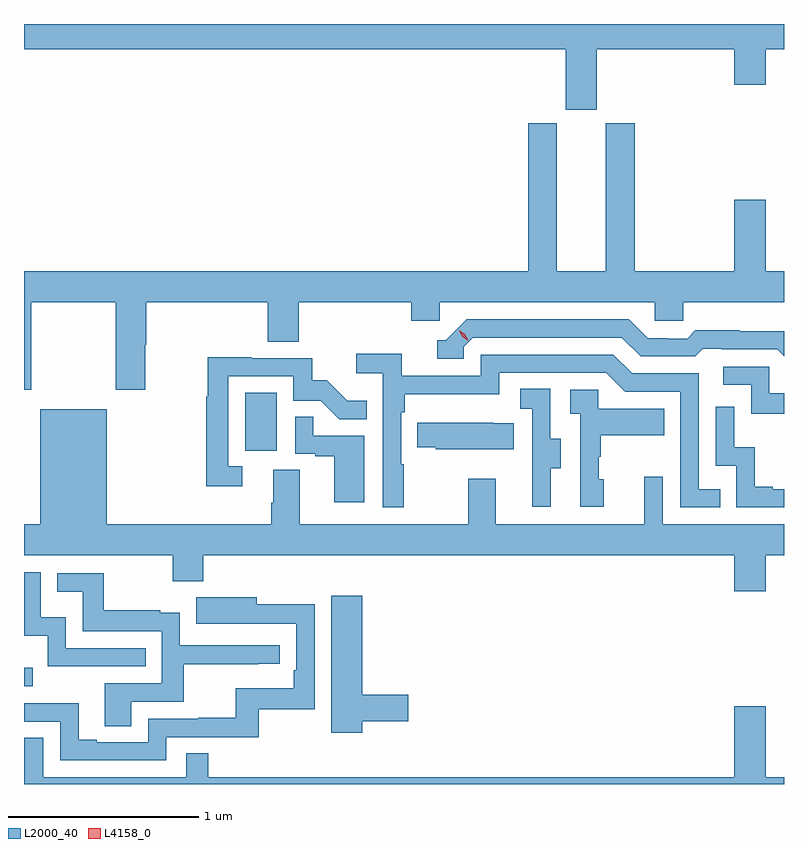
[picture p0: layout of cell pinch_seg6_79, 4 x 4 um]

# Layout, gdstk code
import gdstk
lib = gdstk.Library(unit=1e-6, precision=1e-09)
def R(c, l, rs):  # rectangles x0, y0, x1, y1
    for r in rs: c.add(gdstk.rectangle(r[:2], r[2:], *l))
def P(c, l, *ps):  # polygons
    for p in ps: c.add(gdstk.Polygon(p, *l))
L2000_40 = (2000, 40)
L4158_0 = (4158, 0)

pinch_seg6_79 = lib.new_cell('pinch_seg6_79')
R(pinch_seg6_79, L2000_40, [(904.525,925.335,904.57,925.432), (905.69,926.574,905.854,926.881)])
P(pinch_seg6_79, L2000_40, [(907.54,928.688),(908.264,928.688),(908.264,928.5),(908.428,928.5),(908.428,928.688),(908.525,928.688),(908.525,928.821),(904.525,928.821),(904.525,928.688),(907.376,928.688),(907.376,928.371),(907.54,928.371)],
  [(904.563,927.356),(905.008,927.356),(905.008,926.895),(905.163,926.895),(905.163,927.134),(905.168,927.134),(905.168,927.356),(905.807,927.356),(905.807,927.148),(905.972,927.148),(905.972,927.356),(906.563,927.356),(906.563,927.258),(906.714,927.258),(906.714,927.356),(907.845,927.356),(907.845,927.258),(907.995,927.258),(907.995,927.356),(908.525,927.356),(908.525,927.52),(908.428,927.52),(908.428,927.895),(908.264,927.895),(908.264,927.52),(907.739,927.52),(907.739,928.299),(907.586,928.299),(907.586,927.52),(907.33,927.52),(907.33,928.299),(907.178,928.299),(907.178,927.52),(904.525,927.52),(904.525,926.895),(904.563,926.895)],
  [(906.84,927.123),(906.888,927.171),(907.671,927.171),(907.77,927.072),(908.059,927.072),(908.098,927.111),(908.197,927.111),(908.197,927.108),(908.49,927.108),(908.525,927.073),(908.525,927.205),(908.292,927.205),(908.292,927.208),(908.059,927.208),(908.017,927.165),(907.914,927.165),(907.914,927.168),(907.807,927.168),(907.708,927.267),(906.855,927.267),(906.744,927.156),(906.701,927.156),(906.701,927.06),(906.84,927.06)],
  [(906.523,926.504),(906.51,926.504),(906.51,926.777),(906.53,926.777),(906.53,926.873),(907.026,926.873),(907.026,926.985),(907.59,926.985),(907.689,926.886),(907.98,926.886),(907.98,926.277),(908.189,926.277),(908.189,926.373),(908.076,926.373),(908.076,926.982),(907.726,926.982),(907.627,927.081),(906.93,927.081),(906.93,926.97),(906.512,926.97),(906.512,927.086),(906.273,927.086),(906.273,926.984),(906.414,926.984),(906.414,926.277),(906.523,926.277)],
  [(905.674,926.493),(905.601,926.493),(905.601,926.967),(905.943,926.967),(905.943,926.838),(906.087,926.838),(906.185,926.74),(906.329,926.74),(906.329,926.839),(906.225,926.839),(906.118,926.946),(906.042,926.946),(906.042,927.063),(905.723,927.063),(905.723,927.068),(905.493,927.068),(905.493,926.86),(905.485,926.86),(905.485,926.388),(905.674,926.388)],
  [(908.525,926.877),(908.448,926.877),(908.448,927.018),(908.205,927.018),(908.205,926.922),(908.352,926.922),(908.352,926.769),(908.525,926.769)],
  [(907.297,926.482),(907.351,926.482),(907.351,926.637),(907.296,926.637),(907.296,926.9),(907.137,926.9),(907.137,926.797),(907.2,926.797),(907.2,926.493),(907.199,926.493),(907.199,926.28),(907.297,926.28)],
  [(907.576,926.424),(907.551,926.424),(907.551,926.543),(907.561,926.543),(907.561,926.657),(907.895,926.657),(907.895,926.797),(907.548,926.797),(907.548,926.895),(907.401,926.895),(907.401,926.771),(907.452,926.771),(907.452,926.28),(907.576,926.28)],
  [(908.525,926.373),(908.467,926.373),(908.467,926.386),(908.372,926.386),(908.372,926.594),(908.262,926.594),(908.262,926.806),(908.166,926.806),(908.166,926.496),(908.274,926.496),(908.274,926.277),(908.525,926.277)],
  [(908.428,926.024),(908.525,926.024),(908.525,926.188),(907.887,926.188),(907.887,926.437),(907.79,926.437),(907.79,926.188),(907.009,926.188),(907.009,926.428),(906.862,926.428),(906.862,926.188),(905.977,926.188),(905.977,926.474),(905.837,926.474),(905.837,926.3),(905.825,926.3),(905.825,926.188),(904.96,926.188),(904.96,926.794),(904.61,926.794),(904.61,926.188),(904.525,926.188),(904.525,926.024),(905.308,926.024),(905.308,925.889),(905.468,925.889),(905.468,926.024),(908.264,926.024),(908.264,925.836),(908.428,925.836)],
  [(906.316,926.655),(906.047,926.655),(906.047,926.753),(905.952,926.753),(905.952,926.559),(906.059,926.559),(906.059,926.547),(906.158,926.547),(906.158,926.304),(906.316,926.304)],
  [(907.103,926.719),(906.995,926.719),(906.995,926.722),(906.595,926.722),(906.595,926.593),(906.693,926.593),(906.693,926.582),(907.103,926.582)],
  [(905.165,925.536),(904.746,925.536),(904.746,925.699),(904.614,925.699),(904.614,925.935),(904.525,925.935),(904.525,925.601),(904.65,925.601),(904.65,925.44),(905.165,925.44)],
  [(905.089,925.254),(905.366,925.254),(905.366,925.45),(905.759,925.45),(905.759,925.455),(905.872,925.455),(905.872,925.551),(905.346,925.551),(905.346,925.723),(905.243,925.723),(905.243,925.735),(904.945,925.735),(904.945,925.929),(904.699,925.929),(904.699,925.832),(904.834,925.832),(904.834,925.626),(905.25,925.626),(905.25,925.35),(904.949,925.35),(904.949,925.126),(905.089,925.126)],
  [(906.304,925.15),(906.547,925.15),(906.547,925.292),(906.304,925.292),(906.304,925.813),(906.143,925.813),(906.143,925.092),(906.304,925.092)],
  [(905.274,925.068),(905.761,925.068),(905.761,925.215),(906.054,925.215),(906.054,925.766),(905.749,925.766),(905.749,925.804),(905.431,925.804),(905.431,925.664),(905.645,925.664),(905.645,925.665),(905.958,925.665),(905.958,925.42),(905.945,925.42),(905.945,925.324),(905.64,925.324),(905.64,925.169),(905.443,925.169),(905.443,925.164),(905.178,925.164),(905.178,925.041),(904.909,925.041),(904.909,925.054),(904.813,925.054),(904.813,925.247),(904.608,925.247),(904.608,925.245),(904.525,925.245),(904.525,925.149),(904.716,925.149),(904.716,924.945),(905.274,924.945)],
  [(908.525,924.856),(908.428,924.856),(908.428,925.231),(908.264,925.231),(908.264,924.856),(905.495,924.856),(905.495,924.983),(905.379,924.983),(905.379,924.856),(904.627,924.856),(904.627,925.064),(904.525,925.064),(904.525,924.821),(908.525,924.821)])
P(pinch_seg6_79, L4158_0, [(906.862,927.155),(906.831,927.175),(906.815,927.208),(906.815,927.208),(906.815,927.208),(906.846,927.188),(906.863,927.156),(906.863,927.155)])

lib.write_gds('pinch_seg6_79.gds')
